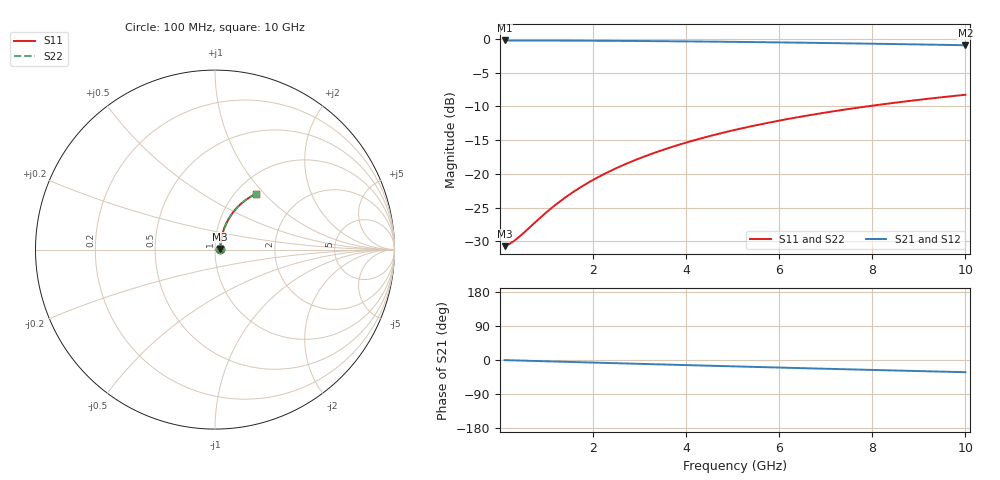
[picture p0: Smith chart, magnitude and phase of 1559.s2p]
# Hz S RI R 50.00
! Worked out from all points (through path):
!   100 points, 100 MHz to 10 GHz, reference 50 ohm
!   highest |S21| = -0.25 dB at 100 MHz (marker M1); lowest = -1.0 dB at 10 GHz (marker M2)
!   group delay of S21, straight-line fit = 8.96 ps
!   lowest |S11| = -30.7 dB at 100 MHz (marker M3), VSWR 1.06, Z = 53 + j0.435 ohm
!   |S11| at or under -10 dB: start of sweep to 7.903 GHz
!   |S22| runs from -30.7 to -8.3 dB; largest |S21 - S12| = 0
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1e8  0.0289 0.00411  0.9711 -0.00576  0.9711 -0.00576  0.0289 0.00411
2e8  0.0291 0.00821  0.9709 -0.0115  0.9709 -0.0115  0.0291 0.00821
3e8  0.0294 0.0123  0.9706 -0.0173  0.9706 -0.0173  0.0294 0.0123
4e8  0.0297 0.0164  0.9703 -0.023  0.9703 -0.023  0.0297 0.0164
1e9  0.0321 0.0409  0.9677 -0.0573  0.9677 -0.0573  0.0321 0.0409
1.3e9  0.034 0.053  0.9658 -0.0744  0.9658 -0.0744  0.034 0.053
1.5e9  0.0354 0.061  0.9643 -0.0858  0.9643 -0.0858  0.0354 0.061
1.8e9  0.0379 0.073  0.9616 -0.1027  0.9616 -0.1027  0.0379 0.073
2.1e9  0.0408 0.0849  0.9586 -0.1195  0.9586 -0.1195  0.0408 0.0849
2.5e9  0.0453 0.1004  0.9538 -0.1417  0.9538 -0.1417  0.0453 0.1004
2.9e9  0.0505 0.1158  0.9483 -0.1636  0.9483 -0.1636  0.0505 0.1158
3.4e9  0.0579 0.1344  0.9404 -0.1906  0.9404 -0.1906  0.0579 0.1344
3.8e9  0.0646 0.149  0.9333 -0.2117  0.9333 -0.2117  0.0646 0.149
4.2e9  0.0719 0.1631  0.9256 -0.2325  0.9256 -0.2325  0.0719 0.1631
4.6e9  0.0798 0.1768  0.9172 -0.2529  0.9172 -0.2529  0.0798 0.1768
5.1e9  0.0905 0.1933  0.9058 -0.2777  0.9058 -0.2777  0.0905 0.1933
5.9e9  0.1092 0.2181  0.8858 -0.3158  0.8858 -0.3158  0.1092 0.2181
6.7e9  0.1298 0.2408  0.8638 -0.3518  0.8638 -0.3518  0.1298 0.2408
7.5e9  0.1519 0.2612  0.8401 -0.3856  0.8401 -0.3856  0.1519 0.2612
8.4e9  0.1783 0.2814  0.8116 -0.4209  0.8116 -0.4209  0.1783 0.2814
9.2e9  0.2028 0.2969  0.7851 -0.4499  0.7851 -0.4499  0.2028 0.2969
1e10  0.228 0.31  0.7577 -0.4765  0.7577 -0.4765  0.228 0.31
